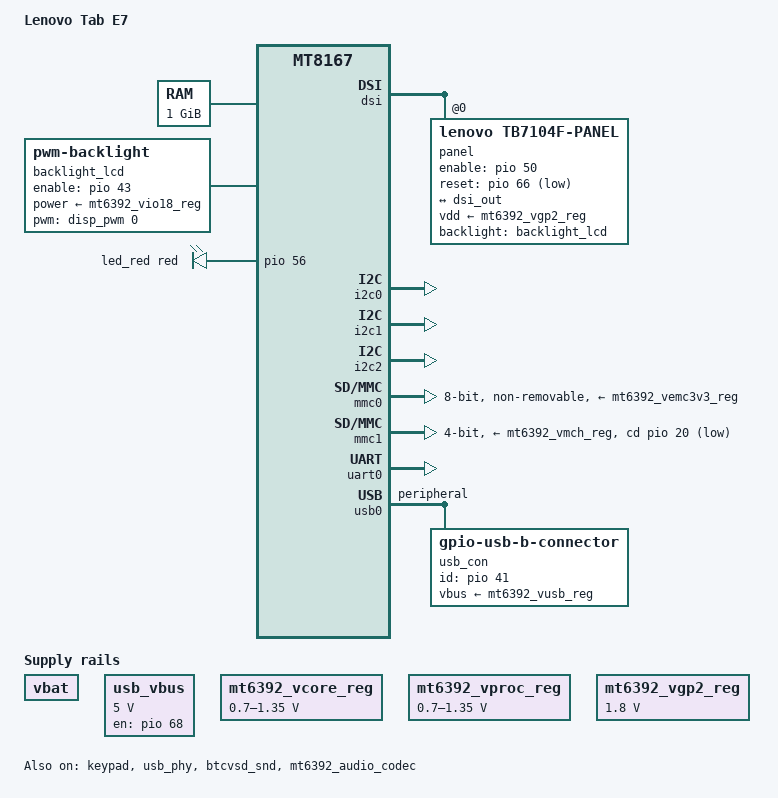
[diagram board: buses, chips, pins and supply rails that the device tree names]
// SPDX-License-Identifier: GPL-2.0
/dts-v1/;
#include <dt-bindings/gpio/gpio.h>
#include <dt-bindings/input/linux-event-codes.h>
#include <dt-bindings/leds/common.h>
#include "mt8167.dtsi"
#include "mt6392.dtsi"

/ {
	model = "Lenovo Tab E7";
	chassis-type = "tablet";
	compatible = "lenovo,tb7104f", "mediatek,mt8167";

	aliases {
		mmc0 = &mmc0;
		mmc1 = &mmc1;
		serial0 = &uart0;
	};

	chosen {
		#address-cells = <2>;
		#size-cells = <2>;
		bootargs = "console=tty0 console=ttyS0,921600n1 earlycon=uart8250,mmio32,0x11005000";
		ranges;

		stdout-path = &framebuffer0;

		framebuffer0: framebuffer@7f020000 {
			compatible = "simple-framebuffer";
			reg = <0x0 0x7f020000 0x0 (1024 * 600 * 4)>;
			width = <1024>;
			height = <600>;
			stride = <(1024 * 4)>;
			format = "a8r8g8b8";
			display = <&dsi>;
		};
	};

	memory@40000000 {
		device_type = "memory";
		reg = <0 0x40000000 0 0x40000000>;
	};

	reserved-memory {
		#address-cells = <2>;
		#size-cells = <2>;
		ranges;

		/* Carve-out di esempio da 1MB (0x100000 bytes) */
		ramoops@42ff0000 {
			compatible = "ramoops";
			reg = <0x0 0x42ff0000 0x0 0x00100000>; /* Indirizzo a 64-bit e dimensione */
			record-size = <0x00020000>;  /* 128KB per ogni log di panic/oops */
			console-size = <0x00020000>; /* 128KB per i log della console */
			ftrace-size = <0x00020000>;  /* 128KB per i log ftrace */
			pmsg-size = <0x00020000>;    /* 128KB per i messaggi utente */
			ecc = <1>;                   /* Opzionale: abilita la protezione software ECC */
			no-map;                      /* EVITA che il kernel mappi questa RAM linearmente */
		};

		atf-reserved-memory {
			no-map;
			reg = <0x00 0x54600000 0x0 0x30000>;
		};

		ram_console-reserved-memory {
			compatible = "mediatek,ram_console";
			reg = <0x0 0x54400000 0x0 0x10000>;
		};

		pstore-reserved-memory {
			compatible = "mediatek,pstore";
			reg = <0x0 0x54410000 0x0 0xe0000>;
		};

		minirdump-reserved-memory {
			compatible = "mediatek,minirdump";
			reg = <0x0 0x544f0000 0x0 0x10000>;
		};

		consys-reserve-memory {
			compatible = "mediatek,consys-reserve-memory";
			no-map;
			size = <0x0 0x200000>;
			alignment = <0x0 0x200000>;
		};
	};

	vbat: regulator-vbat-sys {
		compatible = "regulator-fixed";
		regulator-name = "vbat";
		regulator-always-on;
		regulator-boot-on;
	};

	backlight_lcd: backlight-lcd {
		compatible = "pwm-backlight";
		brightness-levels = <
			  0  16  32  48  64  80  96 112
			128 144 160 176 192 208 224 240
			255
		>;
		default-brightness-level = <9>;
		enable-gpios = <&pio 43 GPIO_ACTIVE_HIGH>;
		power-supply = <&mt6392_vio18_reg>;
		pwms = <&disp_pwm 0 1000000>;
	};

	usb_vbus: regulator {
		compatible = "regulator-fixed";
		regulator-name = "usb_vbus";
		regulator-min-microvolt = <5000000>;
		regulator-max-microvolt = <5000000>;
		gpio = <&pio 68 GPIO_ACTIVE_HIGH>;
		enable-active-high;
	};

	leds {
		compatible = "gpio-leds";

		led_red: led-red {
			color = <LED_COLOR_ID_RED>;
			function = LED_FUNCTION_CHARGING;
			gpios = <&pio 56 GPIO_ACTIVE_HIGH>;
			default-state = "off";
			retain-state-suspended;

			pinctrl-names = "default";
			pinctrl-0 = <&led_pins>;
		};
	};
};

/* With the firmware on Android devices, cores don't seem to come back after out
   idle/unplug (though initial SMP boot is fine) */
&cpu0 {
	/delete-property/ cpu-idle-states;
	proc-supply = <&mt6392_vproc_reg>;
};

&cpu1 {
	/delete-property/ cpu-idle-states;
	proc-supply = <&mt6392_vproc_reg>;
};

&cpu2 {
	/delete-property/ cpu-idle-states;
	proc-supply = <&mt6392_vproc_reg>;
};

&cpu3 {
	/delete-property/ cpu-idle-states;
	proc-supply = <&mt6392_vproc_reg>;
};

&mmsys { status = "disabled"; };
&ovl0 { status = "disabled"; };
&rdma0 { status = "disabled"; };
&wdma {	status = "disabled"; };
&ccorr { status = "disabled"; };
&aal { status = "disabled"; };
&gamma { status = "disabled"; };
&dither { status = "disabled"; };

&disp_pwm {
	//status = "okay";
};

&mipi_tx {
	//status = "okay";
};

&dsi {
	panel: panel@0 {
		compatible = "lenovo,tb7104f-panel";
		reg = <0>;
		backlight = <&backlight_lcd>;
		enable-gpios = <&pio 50 GPIO_ACTIVE_HIGH>;
		reset-gpios = <&pio 66 GPIO_ACTIVE_LOW>;
		vdd-supply = <&mt6392_vgp2_reg>;

		pinctrl-names = "default";
		pinctrl-0 = <&panel_pins>;

		port {
			panel_in: endpoint {
				remote-endpoint = <&dsi_out>;
			};
		};
	};
};

&rdma0_out {
	remote-endpoint = <&dsi_in>;
};

&dsi_in {
	remote-endpoint = <&rdma0_out>;
};

&dsi_out {
	remote-endpoint = <&panel_in>;
};

&i2c0 {
	status = "okay";

	pinctrl-names = "default";
	pinctrl-0 = <&i2c_pins_0>;
	clock-div = <2>;

	// TODO: touch gsl3670 @ 0x40
};

&i2c1 {
	status = "okay";

	pinctrl-names = "default";
	pinctrl-0 = <&i2c_pins_1>;
	clock-div = <2>;

	// TODO: orientation sensor gsl3670 @ 0x40 or bma253 @ 0x18
};

&i2c2 {
	status = "okay";

	pinctrl-names = "default";
	pinctrl-0 = <&i2c_pins_2>;
	clock-div = <2>;

	// TODO: camera main @ 0x36, camera sub @ 0x30
};

&mmc0 {
	status = "okay";

	pinctrl-names = "default", "state_uhs";
	pinctrl-0 = <&mmc0_pins_default>;
	pinctrl-1 = <&mmc0_pins_uhs>;

	bus-width = <8>;
	max-frequency = <200000000>;
	cap-mmc-highspeed;
	mmc-hs200-1_8v;
	cap-mmc-hw-reset;
	non-removable;

	vmmc-supply = <&mt6392_vemc3v3_reg>;
	vqmmc-supply = <&mt6392_vio18_reg>;
};

// ---- microSD (mmc1) ----
&mmc1 {
	status = "okay";

	pinctrl-names = "default", "state_uhs";
	pinctrl-0 = <&mmc1_pins_default>;
	pinctrl-1 = <&mmc1_pins_uhs>;

	bus-width = <4>;
	max-frequency = <200000000>;
	cap-sd-highspeed;
	sd-uhs-sdr50;
	sd-uhs-sdr104;

	cd-gpios = <&pio 20 GPIO_ACTIVE_LOW>;
	vmmc-supply = <&mt6392_vmch_reg>;
	vqmmc-supply = <&mt6392_vmc_reg>;
};

&pio {
	i2c_pins_0: i2c0-pins {
		pins_i2c {
			bias-disable;
			pinmux = <MT8167_PIN_58_SDA0__FUNC_SDA0_0>,
				 <MT8167_PIN_59_SCL0__FUNC_SCL0_0>;
		};
	};

	i2c_pins_1: i2c1-pins {
		pins_i2c {
			bias-disable;
			pinmux = <MT8167_PIN_52_SDA1__FUNC_SDA1_0>,
				 <MT8167_PIN_53_SCL1__FUNC_SCL1_0>;
		};
	};

	i2c_pins_2: i2c2-pins {
		pins_i2c {
			bias-disable;
			pinmux = <MT8167_PIN_60_SDA2__FUNC_SDA2_0>,
				 <MT8167_PIN_61_SCL2__FUNC_SCL2_0>;
		};
	};

	keypad_pins: keypad-pins {
		pins_cols {
			bias-pull-up = <MTK_PUPD_SET_R1R0_01>;
			input-enable;
			pinmux = <MT8167_PIN_42_KPCOL0__FUNC_KPCOL0>;
		};
	};

	mmc0_pins_default: mmc0-default-pins {
		pins_cmd_dat {
			pinmux = <MT8167_PIN_120_MSDC0_DAT0__FUNC_MSDC0_DAT0>,
				 <MT8167_PIN_119_MSDC0_DAT1__FUNC_MSDC0_DAT1>,
				 <MT8167_PIN_118_MSDC0_DAT2__FUNC_MSDC0_DAT2>,
				 <MT8167_PIN_117_MSDC0_DAT3__FUNC_MSDC0_DAT3>,
				 <MT8167_PIN_113_MSDC0_DAT4__FUNC_MSDC0_DAT4>,
				 <MT8167_PIN_112_MSDC0_DAT5__FUNC_MSDC0_DAT5>,
				 <MT8167_PIN_111_MSDC0_DAT6__FUNC_MSDC0_DAT6>,
				 <MT8167_PIN_110_MSDC0_DAT7__FUNC_MSDC0_DAT7>,
				 <MT8167_PIN_115_MSDC0_CMD__FUNC_MSDC0_CMD>;
			input-enable;
			bias-pull-up = <MTK_PUPD_SET_R1R0_01>;
		};

		pins_clk {
			pinmux = <MT8167_PIN_116_MSDC0_CLK__FUNC_MSDC0_CLK>;
			bias-pull-down = <MTK_PUPD_SET_R1R0_10>;
		};

		pins_rst {
			pinmux = <MT8167_PIN_114_MSDC0_RSTB__FUNC_MSDC0_RSTB>;
			bias-pull-up = <MTK_PUPD_SET_R1R0_01>;
		};
	};

	mmc0_pins_uhs: mmc0-uhs-pins {
		pins_cmd_dat {
			pinmux = <MT8167_PIN_120_MSDC0_DAT0__FUNC_MSDC0_DAT0>,
				 <MT8167_PIN_119_MSDC0_DAT1__FUNC_MSDC0_DAT1>,
				 <MT8167_PIN_118_MSDC0_DAT2__FUNC_MSDC0_DAT2>,
				 <MT8167_PIN_117_MSDC0_DAT3__FUNC_MSDC0_DAT3>,
				 <MT8167_PIN_113_MSDC0_DAT4__FUNC_MSDC0_DAT4>,
				 <MT8167_PIN_112_MSDC0_DAT5__FUNC_MSDC0_DAT5>,
				 <MT8167_PIN_111_MSDC0_DAT6__FUNC_MSDC0_DAT6>,
				 <MT8167_PIN_110_MSDC0_DAT7__FUNC_MSDC0_DAT7>,
				 <MT8167_PIN_115_MSDC0_CMD__FUNC_MSDC0_CMD>;
			input-enable;
			drive-strength = <MTK_DRIVE_6mA>;
			bias-pull-up = <MTK_PUPD_SET_R1R0_01>;
		};

		pins_clk {
			pinmux = <MT8167_PIN_116_MSDC0_CLK__FUNC_MSDC0_CLK>;
			drive-strength = <MTK_DRIVE_8mA>;
			bias-pull-down = <MTK_PUPD_SET_R1R0_10>;
		};

		pins_rst {
			pinmux = <MT8167_PIN_114_MSDC0_RSTB__FUNC_MSDC0_RSTB>;
			bias-pull-up = <MTK_PUPD_SET_R1R0_01>;
		};
	};

	mmc1_pins_default: mmc1-default-pins {
		pins_cmd_dat {
			pinmux = <MT8167_PIN_106_MSDC1_DAT0__FUNC_MSDC1_DAT0>,
				 <MT8167_PIN_107_MSDC1_DAT1__FUNC_MSDC1_DAT1>,
				 <MT8167_PIN_108_MSDC1_DAT2__FUNC_MSDC1_DAT2>,
				 <MT8167_PIN_109_MSDC1_DAT3__FUNC_MSDC1_DAT3>,
				 <MT8167_PIN_104_MSDC1_CMD__FUNC_MSDC1_CMD>;
			input-enable;
			drive-strength = <MTK_DRIVE_6mA>;
			bias-pull-up = <MTK_PUPD_SET_R1R0_01>;
		};

		pins_clk {
			pinmux = <MT8167_PIN_105_MSDC1_CLK__FUNC_MSDC1_CLK>;
			drive-strength = <MTK_DRIVE_6mA>;
			bias-pull-down = <MTK_PUPD_SET_R1R0_10>;
		};

		pins_insert {
			pinmux = <MT8167_PIN_20_EINT20__FUNC_GPIO20>;
			bias-pull-up;
		};
	};

	mmc1_pins_uhs: mmc1-uhs-pins {
		pins_cmd_dat {
			pinmux = <MT8167_PIN_106_MSDC1_DAT0__FUNC_MSDC1_DAT0>,
				 <MT8167_PIN_107_MSDC1_DAT1__FUNC_MSDC1_DAT1>,
				 <MT8167_PIN_108_MSDC1_DAT2__FUNC_MSDC1_DAT2>,
				 <MT8167_PIN_109_MSDC1_DAT3__FUNC_MSDC1_DAT3>,
				 <MT8167_PIN_104_MSDC1_CMD__FUNC_MSDC1_CMD>;
			input-enable;
			drive-strength = <MTK_DRIVE_6mA>;
			bias-pull-up = <MTK_PUPD_SET_R1R0_01>;
		};

		pins_clk {
			pinmux = <MT8167_PIN_105_MSDC1_CLK__FUNC_MSDC1_CLK>;
			drive-strength = <MTK_DRIVE_8mA>;
			bias-pull-down = <MTK_PUPD_SET_R1R0_10>;
		};
	};

	usb0_pins: usb0-pins {
		pins_iddig {
			pinmux = <MT8167_PIN_41_KPROW1__FUNC_IDDIG>;
			slew-rate = <0>;
			bias-disable;
		};
		pins_vbus {
			pinmux = <MT8167_PIN_68_MSDC2_CMD__FUNC_GPIO68>;
			output-low;
		};
	};

	uart0_pins: uart0-pins {
		pins_rx {
			pinmux = <MT8167_PIN_62_URXD0__FUNC_URXD0>;
			input-enable;
			bias-pull-up;
		};
		pins_tx {
			pinmux = <MT8167_PIN_63_UTXD0__FUNC_UTXD0>;
		};
	};

	panel_pins: dsi0-pins {
		pins_rst {
			pinmux = <MT8167_PIN_66_LCM_RST__FUNC_GPIO66>;
			bias-pull-up;
		};
	};

	led_pins: led-pins {
		pins_cmd_dat {
			pinmux = <MT8167_PIN_56_I2S_LRCK__FUNC_GPIO56>;
			slew-rate = <1>;
		};
	};
};

&keypad {
	status = "okay";
	debounce-delay-ms = <32>;

	pinctrl-names = "default";
	pinctrl-0 = <&keypad_pins>;

	keypad,num-rows = <1>;
	keypad,num-columns = <1>;
	linux,keymap = <MATRIX_KEY(0x00, 0x00, KEY_VOLUMEUP)>;
	mediatek,keys-per-group = <1>;
};

&pmic {
	interrupt-parent = <&pio>;
	interrupts = <28 IRQ_TYPE_LEVEL_HIGH>;
};

&uart0 {
	status = "okay";

	pinctrl-names = "default";
	pinctrl-0 = <&uart0_pins>;
};

&usb0 {
	status = "okay";
	dr_mode = "peripheral";
	usb-role-switch;

	pinctrl-names = "default";
	pinctrl-0 = <&usb0_pins>;

	//vusb33-supply = <&mt6392_vusb_reg>;

	usb_con: connector {
		compatible = "gpio-usb-b-connector", "usb-b-connector";
		type = "micro";
		id-gpios = <&pio 41 GPIO_OPEN_SOURCE>;
		vbus-supply = <&mt6392_vusb_reg>;
	};
};

&usb_phy {
	status = "okay";
};

&btcvsd_snd {
	status = "okay";
};

&mt6392_audio_codec {
	status = "okay";
};

&mt6392regulators {
	vproc-supply = <&vbat>;
	vcore-supply = <&vbat>;
	vsys-supply = <&vbat>;
	ldo1-supply = <&vbat>;
	ldo2-supply = <&vbat>;
	ldo3-supply = <&vbat>;
};

&mt6392_vcore_reg {
	regulator-min-microvolt = <700000>;
	regulator-max-microvolt = <1350000>;
	regulator-always-on;
	regulator-boot-on;
};

&mt6392_vproc_reg {
	regulator-min-microvolt = <700000>;
	regulator-max-microvolt = <1350000>;
	regulator-always-on;
	regulator-boot-on;
};

&mt6392_vsys_reg {
	regulator-always-on;
	regulator-boot-on;
};

&mt6392_vaud28_reg {
	regulator-always-on;
	regulator-boot-on;
};

&mt6392_vxo22_reg {
	regulator-always-on;
	regulator-boot-on;
};

&mt6392_vaud22_reg {
	regulator-always-on;
	regulator-boot-on;
};

&mt6392_vadc18_reg {
	regulator-always-on;
	regulator-boot-on;
};

&mt6392_vcama_reg {
	regulator-always-on;
	regulator-boot-on;
};

&mt6392_vusb_reg {
	regulator-always-on;
	regulator-boot-on;
};

&mt6392_vmc_reg {
	regulator-boot-on;
};

&mt6392_vmch_reg {
	regulator-boot-on;
};

&mt6392_vemc3v3_reg {
	regulator-boot-on;
};

&mt6392_vm25_reg {
	regulator-always-on;
	regulator-boot-on;
};

&mt6392_vdig18_reg {
	regulator-always-on;
	regulator-boot-on;
};

&mt6392_vm_reg {
	regulator-always-on;
	regulator-boot-on;
};

&mt6392_vio18_reg {
	regulator-always-on;
	regulator-boot-on;
};

&mt6392_vrtc_reg {
	regulator-always-on;
	regulator-boot-on;
};

&mt6392_vgp2_reg {
	regulator-min-microvolt = <1800000>;
	regulator-max-microvolt = <1800000>;
};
